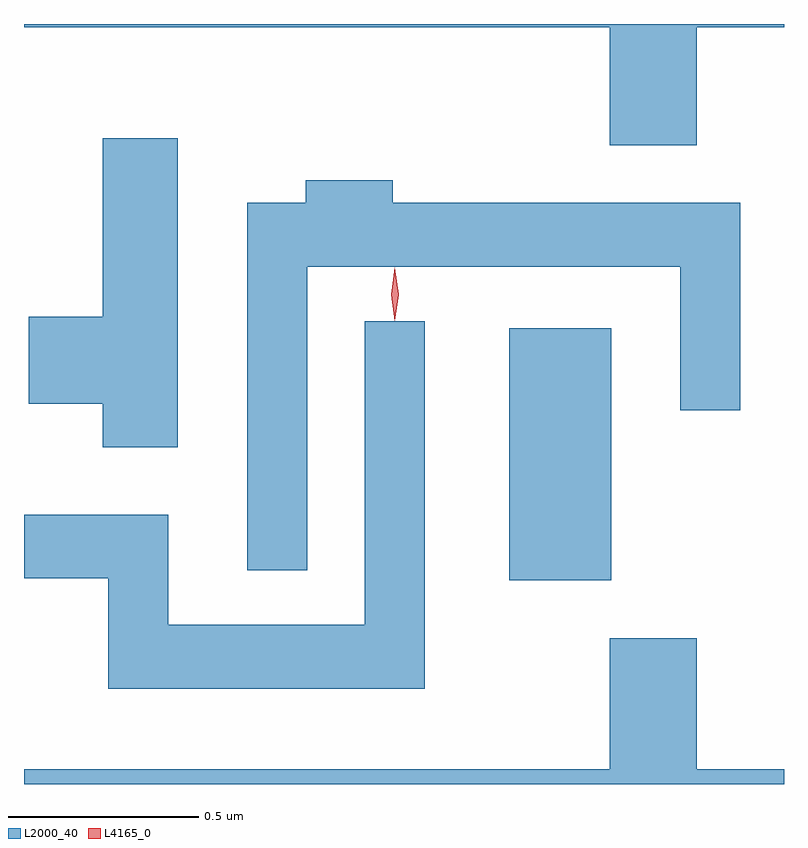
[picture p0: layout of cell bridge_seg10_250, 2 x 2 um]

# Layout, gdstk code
import gdstk
lib = gdstk.Library(unit=1e-6, precision=1e-09)
def R(c, l, rs):  # rectangles x0, y0, x1, y1
    for r in rs: c.add(gdstk.rectangle(r[:2], r[2:], *l))
def P(c, l, *ps):  # polygons
    for p in ps: c.add(gdstk.Polygon(p, *l))
L2000_40 = (2000, 40)
L4165_0 = (4165, 0)

bridge_seg10_250 = lib.new_cell('bridge_seg10_250')
R(bridge_seg10_250, L2000_40, [(1749.276,2092.481,1749.544,2093.144)])
P(bridge_seg10_250, L2000_40, [(1749.769,2093.936),(1749.999,2093.936),(1749.999,2093.945),(1747.999,2093.945),(1747.999,2093.936),(1749.541,2093.936),(1749.541,2093.626),(1749.769,2093.626)],
  [(1748.404,2093.644),(1748.206,2093.644),(1748.206,2093.174),(1748.011,2093.174),(1748.011,2092.946),(1748.206,2092.946),(1748.206,2092.831),(1748.404,2092.831)],
  [(1748.744,2093.306),(1749.726,2093.306),(1749.726,2092.928),(1749.884,2092.928),(1749.884,2093.474),(1748.969,2093.474),(1748.969,2093.534),(1748.741,2093.534),(1748.741,2093.474),(1748.586,2093.474),(1748.586,2092.508),(1748.744,2092.508)],
  [(1749.054,2093.163),(1748.896,2093.163),(1748.896,2092.364),(1748.379,2092.364),(1748.379,2092.654),(1747.999,2092.654),(1747.999,2092.486),(1748.221,2092.486),(1748.221,2092.196),(1749.054,2092.196)],
  [(1749.999,2091.984),(1749.769,2091.984),(1749.769,2092.329),(1749.541,2092.329),(1749.541,2091.984),(1747.999,2091.984),(1747.999,2091.945),(1749.999,2091.945)])
P(bridge_seg10_250, L4165_0, [(1748.974,2093.164),(1748.965,2093.233),(1748.974,2093.303),(1748.975,2093.303),(1748.975,2093.303),(1748.985,2093.233),(1748.975,2093.164),(1748.975,2093.164)],
  [(1748.974,2093.167),(1748.965,2093.234),(1748.974,2093.3),(1748.975,2093.301),(1748.975,2093.3),(1748.985,2093.234),(1748.975,2093.167),(1748.975,2093.167)])

lib.write_gds('bridge_seg10_250.gds')
